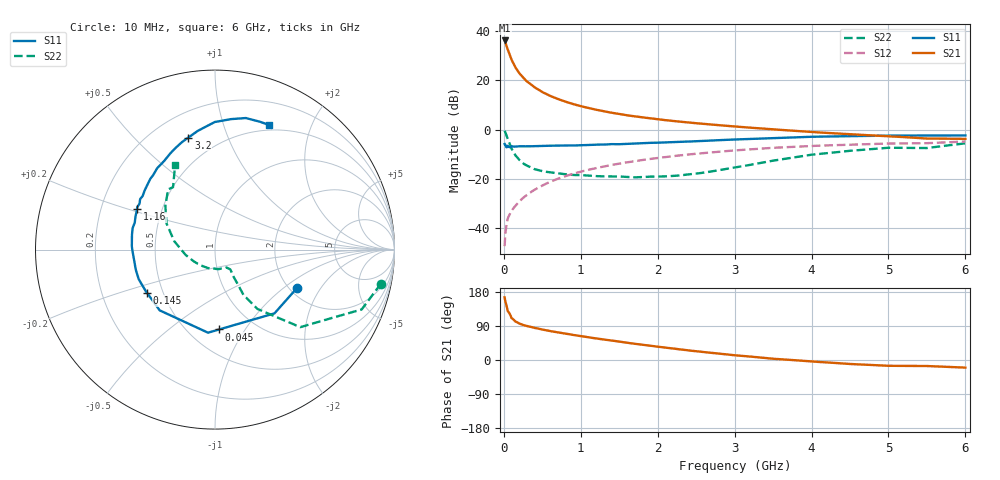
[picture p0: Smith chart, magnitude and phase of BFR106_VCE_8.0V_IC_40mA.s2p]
! Infineon Technologies  Discrete & RF Semiconductors
! BFR106
! VCE =  8.0 V,  IC =  40 mA
! Common Emitter S-Parameters:  Nov 2015
# GHz  S  MA  R  50
!  f  S11  S21  S12  S22
! GHz  MAG  ANG  MAG  ANG  MAG  ANG  MAG  ANG
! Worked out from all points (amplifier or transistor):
!   210 points, 10 MHz to 6 GHz, reference 50 ohm
!   highest |S21| = 36.3 dB at 10 MHz (marker M1)
!   |S21| within 3 dB of that: start of sweep to 42.73 MHz
!   unconditionally stable (mu >= 1): 286.4 MHz to 2.196 GHz
!   at 185 MHz: K = 0.89, MSG = 26.8 dB, |S12| = -29.9 dB
!   at 1.52 GHz: K = 1.05, MAG = 8.6 dB, |S12| = -13.8 dB
!   at 6 GHz: K = 0.98, MSG = 0.5 dB, |S12| = -4.9 dB
!   S11 on the Smith chart (normalised r, x): 10 MHz: 2.21, -1.25; 45 MHz: 0.69, -0.77; 145 MHz: 0.41, -0.25; 1.16 GHz: 0.36, +0.21; 3.2 GHz: 0.34, +0.73; 6 GHz: 0.44, +1.43
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0.01  0.5056 -24.7  65.18 165.4  0.0042 83.3  0.9439 -11.6
0.02  0.4859 -47.0  60.01 153.9  0.0077 74.8  0.8827 -22.2
0.045  0.4456 -87.1  45.03 134.5  0.0139 61.6  0.6752 -38.0
0.05  0.4646 -94.8  42.9 129.2  0.0152 60.3  0.6422 -42.3
0.1  0.4578 -132.3  26.25 110.8  0.022 60.5  0.4065 -54.4
0.145  0.4489 -147.6  19.1 102.8  0.0272 61.3  0.3085 -57.4
0.15  0.4499 -149.3  18.34 101.5  0.0278 61.4  0.2977 -57.9
0.2  0.4559 -158.8  14.09 96.4  0.0339 64.5  0.2418 -56.9
0.26  0.455 -166.4  10.98 91.8  0.0416 66.1  0.1994 -56.1
0.3  0.4543 -169.8  9.514 89.4  0.0463 68.0  0.184 -55.7
0.4  0.4585 -177.4  7.219 84.7  0.0592 69.7  0.1554 -53.8
0.5  0.4638 177.7  5.79 80.3  0.0721 70.2  0.1408 -52.3
0.6  0.4673 172.4  4.855 76.3  0.0856 70.4  0.134 -53.3
0.8  0.4744 165.3  3.681 69.6  0.1118 69.1  0.1217 -56.3
1.02  0.4797 157.4  2.935 62.4  0.1407 67.3  0.1173 -61.8
1.16  0.4898 152.6  2.612 58.1  0.1586 65.7  0.1134 -67.0
2.02  0.5396 129.6  1.601 34.6  0.2652 54.6  0.11 -111.9
3.1  0.6337 105.2  1.122 10.9  0.384 39.0  0.1782 -175.9
3.2  0.6415 103.4  1.091 9.1  0.3936 37.5  0.1901 179.3
4.1  0.7146 88.6  0.87 -5.2  0.4687 24.3  0.3175 148.7
5.1  0.7526 75.5  0.715 -15.4  0.5196 11.3  0.4238 127.1
6  0.7567 66.5  0.645 -20.1  0.5692 1.1  0.5229 115.1
